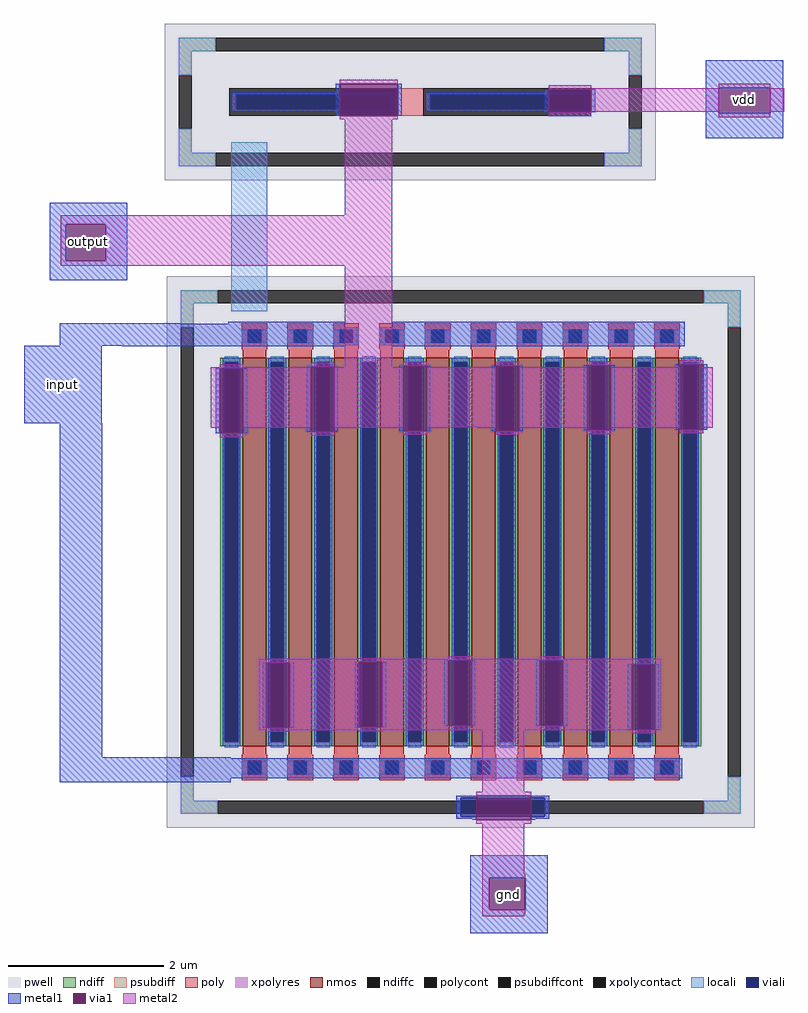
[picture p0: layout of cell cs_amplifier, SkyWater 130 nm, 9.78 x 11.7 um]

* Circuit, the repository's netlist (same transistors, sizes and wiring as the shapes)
** sch_path: /home/harsh/design/xschem/cs_amplifier.sch
.subckt cs_amplifier vdd output input gnd
*.PININFO input:I vdd:B gnd:B output:O
XM1 output input gnd gnd sky130_fd_pr__nfet_01v8 L=0.30 W=50 nf=10 m=1
XR1 output vdd gnd sky130_fd_pr__res_xhigh_po_0p35 L=0.175 mult=1 m=1
.ends
.end

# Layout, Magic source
magic
tech sky130A
magscale 1 2
<< locali >>
rect 114 1876 206 2312
<< viali >>
rect 704 576 920 624
<< metal1 >>
rect 382 2380 392 2462
rect 542 2380 552 2462
rect 1334 2452 1534 2522
rect 920 2388 930 2448
rect 1040 2388 1050 2448
rect 1334 2386 1368 2452
rect 1500 2386 1534 2452
rect 1334 2322 1534 2386
rect -354 2100 -154 2156
rect -354 2006 -312 2100
rect -210 2006 -154 2100
rect -354 1956 -154 2006
rect -328 1844 -16 1846
rect 106 1844 406 1850
rect -328 1788 406 1844
rect -420 1588 -220 1788
rect -168 1786 406 1788
rect 528 1786 1280 1850
rect -328 728 -218 1588
rect 74 1562 84 1730
rect 144 1562 154 1730
rect 308 1566 318 1734
rect 378 1566 388 1734
rect 546 1568 556 1736
rect 616 1568 626 1736
rect 784 1568 794 1736
rect 854 1568 864 1736
rect 1020 1570 1030 1738
rect 1090 1570 1100 1738
rect 1258 1572 1268 1740
rect 1328 1572 1338 1740
rect 194 804 204 972
rect 264 804 274 972
rect 432 806 442 974
rect 502 806 512 974
rect 662 810 672 978
rect 732 810 742 978
rect 898 810 908 978
rect 968 810 978 978
rect 1134 800 1144 968
rect 1204 800 1214 968
rect -328 726 112 728
rect -328 674 1274 726
rect -328 664 112 674
rect 692 624 744 630
rect 886 624 932 630
rect 692 576 704 624
rect 920 576 932 624
rect 692 570 744 576
rect 734 568 744 570
rect 886 570 932 576
rect 886 568 896 570
rect 728 418 928 476
rect 728 336 778 418
rect 870 336 928 418
rect 728 276 928 336
<< via1 >>
rect 392 2380 542 2462
rect 930 2388 1040 2448
rect 1368 2386 1500 2452
rect -312 2006 -210 2100
rect 84 1562 144 1730
rect 318 1566 378 1734
rect 556 1568 616 1736
rect 794 1568 854 1736
rect 1030 1570 1090 1738
rect 1268 1572 1328 1740
rect 204 804 264 972
rect 442 806 502 974
rect 672 810 732 978
rect 908 810 968 978
rect 1144 800 1204 968
rect 744 624 886 630
rect 744 576 886 624
rect 744 568 886 576
rect 778 336 870 418
<< metal2 >>
rect 392 2462 542 2472
rect 392 2370 542 2380
rect 930 2450 1040 2458
rect 1368 2452 1500 2462
rect 930 2448 1368 2450
rect 1040 2390 1368 2448
rect 930 2378 1040 2388
rect 1500 2390 1536 2450
rect 1368 2376 1500 2386
rect 406 2124 528 2370
rect -326 2100 528 2124
rect -326 2006 -312 2100
rect -210 2006 528 2100
rect -326 1994 528 2006
rect 84 1732 144 1740
rect 318 1734 378 1744
rect 60 1730 318 1732
rect 60 1576 84 1730
rect 144 1576 318 1730
rect 84 1552 144 1562
rect 406 1732 528 1994
rect 556 1736 616 1746
rect 378 1576 556 1732
rect 318 1556 378 1566
rect 794 1736 854 1746
rect 616 1578 794 1732
rect 616 1576 688 1578
rect 746 1576 794 1578
rect 556 1558 616 1568
rect 1030 1738 1090 1748
rect 854 1576 1030 1732
rect 794 1558 854 1568
rect 1268 1740 1328 1750
rect 1090 1576 1268 1732
rect 1030 1560 1090 1570
rect 1328 1576 1352 1732
rect 1268 1562 1328 1572
rect 442 982 502 984
rect 672 982 732 988
rect 908 982 968 988
rect 184 978 1220 982
rect 184 974 672 978
rect 184 972 442 974
rect 184 804 204 972
rect 264 806 442 972
rect 502 810 672 974
rect 732 810 908 978
rect 968 968 1220 978
rect 968 810 1144 968
rect 502 806 1144 810
rect 264 804 1144 806
rect 184 800 1144 804
rect 1204 800 1220 968
rect 184 798 1220 800
rect 204 794 264 798
rect 442 796 502 798
rect 760 640 868 798
rect 1144 790 1204 798
rect 744 630 886 640
rect 744 558 886 568
rect 760 428 868 558
rect 760 418 870 428
rect 760 336 778 418
rect 760 326 870 336
rect 760 320 868 326
use sky130_fd_pr__nfet_01v8_4H4H2H  XM1
transform 1 0 704 0 1 1257
box -757 -710 757 710
use sky130_fd_pr__res_xhigh_po_0p35_4SYHMP  XR1
transform 0 1 574 -1 0 2415
box -201 -632 201 632
<< labels >>
flabel metal1 -420 1588 -220 1788 0 FreeSans 256 0 0 0 input
port 2 nsew
flabel metal1 728 276 928 476 0 FreeSans 256 0 0 0 gnd
port 3 nsew
flabel metal1 -354 1956 -154 2156 0 FreeSans 256 0 0 0 output
port 1 nsew
flabel metal1 1334 2322 1534 2522 0 FreeSans 256 0 0 0 vdd
port 0 nsew
<< end >>

# cell sky130_fd_pr__nfet_01v8_4H4H2H: kit device sky130_fd_pr__nfet_01v8, w 5.0 l 0.3 m 1 nf 10 diffcov 100 polycov 100 guard 1 glc 1 grc 1 gtc 1 gbc 1 tbcov 100 rlcov 100 topc 1 botc 1 poverlap 0 doverlap 1 lmin 0.15 wmin 0.42 compatible {sky130_fd_pr__nfet_01v8 sky130_fd_pr__nfet_01v8_lvt sky130_fd_bs_flash__special_sonosfet_star sky130_fd_pr__nfet_g5v0d10v5 sky130_fd_pr__nfet_05v0_nvt sky130_fd_pr__nfet_03v3_nvt} full_metal 1 viasrc 100 viadrn 100 viagate 100 viagb 0 viagr 0 viagl 0 viagt 0

# cell sky130_fd_pr__res_xhigh_po_0p35_4SYHMP: kit device sky130_fd_pr__res_xhigh_po_0p35, w 0.350 l 0.50 m 1 nx 1 wmin 0.350 lmin 0.50 rho 2000 val 2.075k dummy 0 dw 0.0 term 188.2 sterm 0.0 caplen 0 wmax 0.350 guard 1 glc 1 grc 1 gtc 1 gbc 1 compatible {sky130_fd_pr__res_xhigh_po_0p35 sky130_fd_pr__res_xhigh_po_0p69 sky130_fd_pr__res_xhigh_po_1p41 sky130_fd_pr__res_xhigh_po_2p85 sky130_fd_pr__res_xhigh_po_5p73} snake 0 full_metal 1 n_guard 0 hv_guard 0 vias 1 viagb 0 viagt 0 viagl 0 viagr 0
